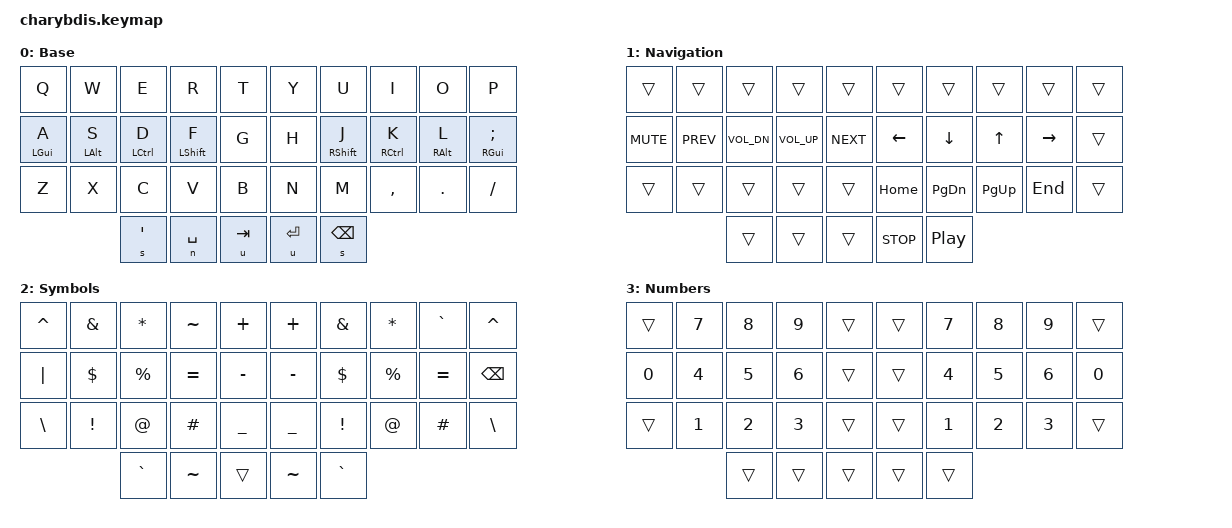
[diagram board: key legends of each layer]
#include <behaviors.dtsi>
#include <dt-bindings/zmk/keys.h>
#include <dt-bindings/zmk/bt.h>
#include <dt-bindings/zmk/ext_power.h>
#include <dt-bindings/zmk/mouse.h>
#include <dt-bindings/zmk/outputs.h>

/* Base */
#define b 0
/* Navigation */
#define n 1
/* Symbols */
#define s 2
/* Numbers */
#define u 3

&sl {
  release-after-ms = <250>;
};

&mt {
    tapping-term-ms = <200>;
    require-prior-idle-ms = <150>;
};

/ {
    trackball_listener {
        compatible = "zmk,input-behavior-listener";
        device = <&vtrackball>;
        layers = <b u>;
        evt-type = <INPUT_EV_REL>;
        x-input-code = <INPUT_REL_X>;
        y-input-code = <INPUT_REL_Y>;
        scale-multiplier = <1>;
        scale-divisor = <4>;
    };

    trackball_snipe_listener {
        compatible = "zmk,input-behavior-listener";   
        device = <&vtrackball>;
        layers = <s>;
        evt-type = <INPUT_EV_REL>;
        x-input-code = <INPUT_REL_X>;
        y-input-code = <INPUT_REL_Y>;
        scale-multiplier = <1>;
        scale-divisor = <12>;
    };

    trackball_scroll_listener {
        compatible = "zmk,input-behavior-listener";
        device = <&vtrackball>;
        layers = <n>;
        evt-type = <INPUT_EV_REL>;
        x-input-code = <INPUT_REL_MISC>;
        y-input-code = <INPUT_REL_WHEEL>;
        y-invert;
        scale-divisor = <6>;
        bindings = <&ib_wheel_scaler 1 8>;
    };

    ib_wheel_scaler: ib_wheel_scaler {
        compatible = "zmk,input-behavior-scaler";
        #binding-cells = <2>;
        evt-type = <INPUT_EV_REL>;
        input-code = <INPUT_REL_WHEEL>;
    };

    behaviors {
        ltn: layer_tap_none {
            compatible = "zmk,behavior-hold-tap";
            label = "LAYER_TAP_NONE";
            bindings = <&mo>, <&none>;

            #binding-cells = <2>;
            tapping-term-ms = <280>;
            hold-trigger-key-positions = <5 6 7 8 9 15 16 17 18 19 25 26 27 28 29 33 34>;
            flavor = "balanced";
            quick-tap-ms = <175>;
            require-prior-idle-ms = <125>;
            hold-trigger-on-release;
        };

        hl: homewrow_mods_left {
            compatible = "zmk,behavior-hold-tap";
            label = "HOMEROW_MODS_LEFT_HAND";
            bindings = <&kp>, <&kp>;

            #binding-cells = <2>;
            tapping-term-ms = <280>;
            hold-trigger-key-positions = <5 6 7 8 9 15 16 17 18 19 25 26 27 28 29 33 34>;
            flavor = "balanced";
            quick-tap-ms = <175>;
            require-prior-idle-ms = <125>;
            hold-trigger-on-release;
        };

        hr: homewrow_mods_right {
            compatible = "zmk,behavior-hold-tap";
            label = "HOMEROW_MODS_RIGHT_HAND";
            bindings = <&kp>, <&kp>;

            #binding-cells = <2>;
            tapping-term-ms = <280>;
            hold-trigger-key-positions = <0 1 2 3 4 10 11 12 13 14 20 21 22 23 24 30 31 32>;
            flavor = "balanced";
            quick-tap-ms = <175>;
            require-prior-idle-ms = <125>;
            hold-trigger-on-release;
        };
    };

    chosen {
        zmk,matrix_transform = &five_column_transform;
    };

    combos {
        compatible = "zmk,combos";
        combo_esc { timeout-ms = <35>; key-positions = <22 23>; bindings = <&kp ESCAPE>; require-prior-idle-ms = <150>; layers = <b>; };

        combo_lbkt { timeout-ms = <45>; key-positions = <1 11>; bindings = <&kp LBKT>; require-prior-idle-ms = <150>; layers = <b>; };
        combo_lpar { timeout-ms = <45>; key-positions = <2 12>; bindings = <&kp LPAR>; require-prior-idle-ms = <150>; layers = <b>; };
        combo_lbrc { timeout-ms = <45>; key-positions = <3 13>; bindings = <&kp LBRC>; require-prior-idle-ms = <150>; layers = <b>; };
        combo_lt { timeout-ms = <45>; key-positions = <4 14>; bindings = <&kp LT>; require-prior-idle-ms = <150>; layers = <b>; };

        combo_gt { timeout-ms = <45>; key-positions = <5 15>; bindings = <&kp GT>; require-prior-idle-ms = <150>; layers = <b>; };
        combo_rbrc { timeout-ms = <45>; key-positions = <6 16>; bindings = <&kp RBRC>; require-prior-idle-ms = <150>; layers = <b>; };
        combo_rpar { timeout-ms = <45>; key-positions = <7 17>; bindings = <&kp RPAR>; require-prior-idle-ms = <150>; layers = <b>; };
        combo_rbkt { timeout-ms = <45>; key-positions = <8 18>; bindings = <&kp RBKT>; require-prior-idle-ms = <150>; layers = <b>; };

        combo_rl_leftclk { timeout-ms = <40>; key-positions = <17 18>; bindings = <&mkp LCLK>; require-prior-idle-ms = <150>; layers = <b n s u>; };
        combo_rl_middleclk { timeout-ms = <40>; key-positions = <17 27>; bindings = <&mkp MCLK>; require-prior-idle-ms = <150>; layers = <b n s u>; };
        combo_rl_rightclk { timeout-ms = <40>; key-positions = <18 28>; bindings = <&mkp RCLK>; require-prior-idle-ms = <150>; layers = <b n s u>; };

        combo_capsword { timeout-ms = <40>; key-positions = <2 7>; bindings = <&caps_word>; require-prior-idle-ms = <150>; layers = <b>; };
        combo_capslock { timeout-ms = <40>; key-positions = <1 8>; bindings = <&kp CAPS>; require-prior-idle-ms = <150>; layers = <b>; };
    };

    keymap {
        compatible = "zmk,keymap";

        Base {
            bindings = <
                &kp Q      &kp W      &kp E       &kp R        &kp T     &kp Y       &kp U       &kp I       &kp O      &kp P
                &hl LGUI A &hl LALT S &hl LCTRL D &hl LSHIFT F &kp G     &kp H       &hr RSHFT J &hr RCTRL K &hr RALT L &hr RGUI SEMICOLON
                &kp Z      &kp X      &kp C       &kp V        &kp B     &kp N       &kp M       &kp COMMA   &kp DOT    &kp SLASH
                                      &lt s SQT   &lt n SPACE  &lt u TAB &lt u ENTER &lt s BSPC
            >;
        };

        Navigation {
            bindings = <
                &trans        &trans     &trans       &trans       &trans     &trans            &trans        &trans      &trans    &trans
                &kp C_MUTE    &kp C_PREV &kp C_VOL_DN &kp C_VOL_UP &kp C_NEXT &kp LEFT          &kp DOWN      &kp UP      &kp RIGHT &trans
                &trans        &trans     &trans       &trans       &trans     &kp HOME          &kp PAGE_DOWN &kp PAGE_UP &kp END   &trans
                              &trans     &trans       &trans       &kp C_STOP &kp C_PLAY_PAUSE
            >;
        };

        Symbols {
            bindings = <
                &kp CARET     &kp AMPS &kp STAR  &kp TILDE &kp PLUS  &kp PLUS  &kp AMPS  &kp STAR  &kp GRAVE &kp CARET
                &kp PIPE      &kp DLLR &kp PRCNT &kp EQUAL &kp MINUS &kp MINUS &kp DLLR  &kp PRCNT &kp EQUAL &kp BSPC
                &kp BACKSLASH &kp EXCL &kp AT    &kp HASH  &kp UNDER &kp UNDER &kp EXCL  &kp AT    &kp HASH  &kp BACKSLASH
                                       &kp GRAVE &kp TILDE &trans    &kp TILDE &kp GRAVE
            >;
        };

        Numbers {
            bindings = <
                &trans &kp N7 &kp N8 &kp N9 &trans &trans &kp N7 &kp N8 &kp N9 &trans
                &kp N0 &kp N4 &kp N5 &kp N6 &trans &trans &kp N4 &kp N5 &kp N6 &kp N0
                &trans &kp N1 &kp N2 &kp N3 &trans &trans &kp N1 &kp N2 &kp N3 &trans
                              &trans &trans &trans &trans &trans
            >;
        };
    };
};
